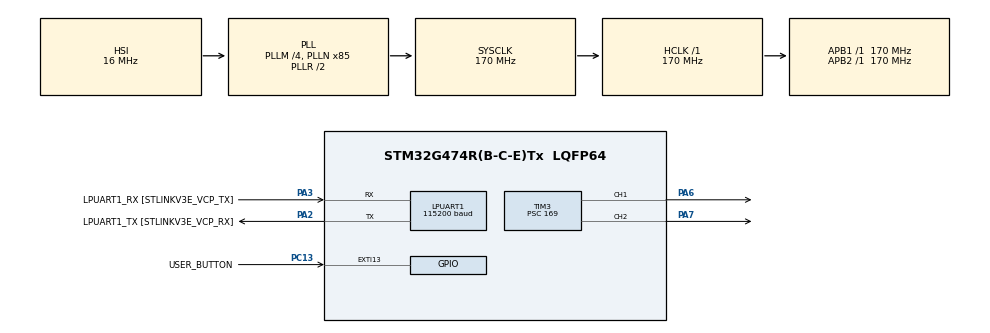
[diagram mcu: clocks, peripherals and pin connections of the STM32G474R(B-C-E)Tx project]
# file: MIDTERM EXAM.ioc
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LPUART1.BaudRate=115200
Mcu.Family=STM32G4
Mcu.Name=STM32G474R(B-C-E)Tx
Mcu.Package=LQFP64
NVIC.EXTI15_10_IRQn=true\:0\:0\:false\:false\:true\:true\:true\:true
NVIC.LPUART1_IRQn=true\:0\:0\:false\:false\:true\:true\:true\:true
NVIC.PriorityGroup=NVIC_PRIORITYGROUP_4
NVIC.TIM6_DAC_IRQn=true\:0\:0\:false\:false\:true\:true\:true\:true
PA13.GPIO_Label=T_SWDIO
PA13.Signal=SYS_JTMS-SWDIO
PA14.GPIO_Label=T_SWCLK
PA14.Signal=SYS_JTCK-SWCLK
PA2.GPIO_Label=LPUART1_TX [STLINKV3E_VCP_RX]
PA2.Mode=Asynchronous
PA2.Signal=LPUART1_TX
PA3.GPIO_Label=LPUART1_RX [STLINKV3E_VCP_TX]
PA3.Mode=Asynchronous
PA3.Signal=LPUART1_RX
PA6.Signal=S_TIM3_CH1
PA7.Signal=S_TIM3_CH2
PB3.GPIO_Label=T_SWO
PB3.Signal=SYS_JTDO-SWO
PC13.GPIO_Label=USER_BUTTON
PC13.GPIO_PuPd=GPIO_PULLDOWN
PC13.Signal=GPXTI13
PC14-OSC32_IN.GPIO_Label=RCC_OSC32_IN
PC14-OSC32_IN.Signal=RCC_OSC32_IN
PC15-OSC32_OUT.GPIO_Label=RCC_OSC32_OUT
PC15-OSC32_OUT.Signal=RCC_OSC32_OUT
PF0-OSC_IN.GPIO_Label=RCC_OSC_IN
PF0-OSC_IN.Signal=RCC_OSC_IN
PF1-OSC_OUT.GPIO_Label=RCC_OSC_OUT
PF1-OSC_OUT.Signal=RCC_OSC_OUT
ProjectManager.HeapSize=0x200
ProjectManager.StackSize=0x400
ProjectManager.TargetToolchain=STM32CubeIDE
RCC.ADC12Freq_Value=170000000
RCC.ADC345Freq_Value=170000000
RCC.AHBFreq_Value=170000000
RCC.APB1Freq_Value=170000000
RCC.APB1TimFreq_Value=170000000
RCC.APB2Freq_Value=170000000
RCC.APB2TimFreq_Value=170000000
RCC.CortexFreq_Value=170000000
RCC.EXTERNAL_CLOCK_VALUE=12288000
RCC.HCLKFreq_Value=170000000
RCC.HSE_VALUE=24000000
RCC.HSI48_VALUE=48000000
RCC.HSI_VALUE=16000000
RCC.LSE_VALUE=32768
RCC.PLLM=RCC_PLLM_DIV4
RCC.PLLN=85
RCC.RTCClockSelection=RCC_RTCCLKSOURCE_LSE
RCC.SYSCLKFreq_VALUE=170000000
RCC.SYSCLKSource=RCC_SYSCLKSOURCE_PLLCLK
RCC.USBFreq_Value=170000000
RCC.VCOOutputFreq_Value=340000000
SH.S_TIM3_CH1.0=TIM3_CH1,PWM Generation1 CH1
SH.S_TIM3_CH2.0=TIM3_CH2,PWM Generation2 CH2
TIM3.Channel-PWM\ Generation1\ CH1=TIM_CHANNEL_1
TIM3.Channel-PWM\ Generation2\ CH2=TIM_CHANNEL_2
TIM3.PeriodNoDither=999
TIM3.Prescaler=169
TIM6.PeriodNoDither=99
TIM6.Prescaler=16999
VP_SYS_VS_DBSignals.Mode=DisableDeadBatterySignals
VP_TIM3_VS_ClockSourceINT.Mode=Internal
VP_TIM6_VS_ClockSourceINT.Mode=Enable_Timer
board=NUCLEO-G474RE

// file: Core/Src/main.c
/* USER CODE BEGIN Header */
/**
  ******************************************************************************
  * @file           : main.c
  * @brief          : Main program body
  ******************************************************************************
  * @attention
  *
  * Copyright (c) 2026 STMicroelectronics.
  * All rights reserved.
  *
  * This software is licensed under terms that can be found in the LICENSE file
  * in the root directory of this software component.
  * If no LICENSE file comes with this software, it is provided AS-IS.
  *
  ******************************************************************************
  */
/* USER CODE END Header */
#include "main.h"

/* USER CODE BEGIN Includes */
#include <stdio.h>   // snprintf()：將數字轉換成文字
#include <string.h>  // strlen()：取得字串長度
/* USER CODE END Includes */

UART_HandleTypeDef hlpuart1;

TIM_HandleTypeDef htim3;
TIM_HandleTypeDef htim6;

/* USER CODE BEGIN PV */

/* =========================================
   1. 時間設定：單位為秒
   ========================================= */

#define STUDY_TIME   20U
#define BREAK_TIME   10U
#define REWARD_TIME  15U

/* =========================================
   2. FSM 狀態定義
   ========================================= */

typedef enum
{
    STATE_WAIT,
    STATE_STUDY,
    STATE_BREAK,
    STATE_PAUSED,
    STATE_DONE
} FSM_State;

/* =========================================
   3. FSM 使用的變數
   ========================================= */

FSM_State state = STATE_WAIT;

FSM_State previousState = STATE_WAIT;

uint16_t totalRounds = 0;

uint16_t currentRound = 0;

uint8_t studyPaused = 0;

uint32_t phaseStart = 0;

uint32_t phaseDuration = 0;

uint32_t remainingTime = 0;

/* =========================================
   4. 中斷旗標
   ========================================= */

// PC13 按鈕中斷旗標
volatile uint8_t buttonFlag = 0;

// TIM6 週期中斷旗標
volatile uint8_t timerFlag = 0;

// 記錄上次有效按鈕時間，防止彈跳
volatile uint32_t lastButtonTime = 0;

// 是否曾經接受過有效按鈕事件
volatile uint8_t buttonInitialized = 0;

uint8_t rxChar = 0;

volatile uint8_t rxStatus = 0;

volatile uint16_t rxRounds = 0;

uint16_t rxNumber = 0;

uint8_t rxDigits = 0;

uint8_t rxInvalid = 0;

char txBuffer[128];

/* USER CODE END PV */

void SystemClock_Config(void);
static void MX_GPIO_Init(void);
static void MX_LPUART1_UART_Init(void);
static void MX_TIM3_Init(void);
static void MX_TIM6_Init(void);

/* USER CODE BEGIN PFP */

void UART_Send(const char *msg);

void PWM_Set(uint32_t channel, uint16_t brightness);

void StartStudy(void);

void StartBreak(void);

void HandleButton(void);

void FSM_Update(void);

void LED_Update(void);

/* USER CODE END PFP */

int main(void)
{

  /* MCU Configuration--------------------------------------------------------*/

  /* Reset of all peripherals, Initializes the Flash interface and the Systick. */
  HAL_Init();

  /* Configure the system clock */
  SystemClock_Config();

  /* Initialize all configured peripherals */
  MX_GPIO_Init();
  MX_LPUART1_UART_Init();
  MX_TIM3_Init();
  MX_TIM6_Init();

  /* USER CODE BEGIN 2 */

  HAL_TIM_PWM_Start(&htim3, TIM_CHANNEL_1);

  HAL_TIM_PWM_Start(&htim3, TIM_CHANNEL_2);

  PWM_Set(TIM_CHANNEL_1, 0);
  PWM_Set(TIM_CHANNEL_2, 0);

  HAL_TIM_Base_Start_IT(&htim6);

  HAL_UART_Receive_IT(&hlpuart1, &rxChar, 1);

  UART_Send("\r\n========================\r\n");
  UART_Send(" STM32 Study Timer\r\n");
  UART_Send("========================\r\n");

  UART_Send("Study : 20 seconds\r\n");
  UART_Send("Break : 10 seconds\r\n");
  UART_Send("Reward: 15 seconds\r\n");

  UART_Send("\r\nEnter rounds (1-99):\r\n");

  /* USER CODE END 2 */

  /* Infinite loop */
  while (1)
  {

    /* USER CODE BEGIN 3 */

	     if (rxStatus != 0)
	     {
	         uint8_t result;
	         uint16_t inputRounds;

	         uint32_t primask = __get_PRIMASK();
	         __disable_irq();

	         result = rxStatus;
	         inputRounds = rxRounds;
	         rxStatus = 0;

	         __set_PRIMASK(primask);

	         if (result == 1)
	         {

	             if (state == STATE_WAIT ||
	                 state == STATE_DONE)
	             {
	                 totalRounds = inputRounds;
	                 currentRound = 0;
	                 studyPaused = 0;

	                 state = STATE_WAIT;

	                 PWM_Set(TIM_CHANNEL_1, 0);
	                 PWM_Set(TIM_CHANNEL_2, 0);

	                 snprintf(txBuffer, sizeof(txBuffer),
	                          "\r\nRounds set: %u\r\n",
	                          (unsigned int)totalRounds);

	                 UART_Send(txBuffer);
	                 UART_Send("Press USER to start.\r\n");
	             }
	             else
	             {

	                 UART_Send("Timer is active. Input ignored.\r\n");
	             }
	         }
	         else
	         {

	             UART_Send("Invalid input! Enter 1-99.\r\n");
	         }
	     }

	     if (buttonFlag == 1)
	     {
	         buttonFlag = 0;

	         HandleButton();
	     }

	     if (timerFlag == 1)
	     {

	         timerFlag = 0;

	         FSM_Update();

	         LED_Update();
	     }
  }
  /* USER CODE END 3 */
}

void SystemClock_Config(void)
{
  RCC_OscInitTypeDef RCC_OscInitStruct = {0};
  RCC_ClkInitTypeDef RCC_ClkInitStruct = {0};

  /** Configure the main internal regulator output voltage
  */
  HAL_PWREx_ControlVoltageScaling(PWR_REGULATOR_VOLTAGE_SCALE1_BOOST);

  /** Initializes the RCC Oscillators according to the specified parameters
  * in the RCC_OscInitTypeDef structure.
  */
  RCC_OscInitStruct.OscillatorType = RCC_OSCILLATORTYPE_HSI;
  RCC_OscInitStruct.HSIState = RCC_HSI_ON;
  RCC_OscInitStruct.HSICalibrationValue = RCC_HSICALIBRATION_DEFAULT;
  RCC_OscInitStruct.PLL.PLLState = RCC_PLL_ON;
  RCC_OscInitStruct.PLL.PLLSource = RCC_PLLSOURCE_HSI;
  RCC_OscInitStruct.PLL.PLLM = RCC_PLLM_DIV4;
  RCC_OscInitStruct.PLL.PLLN = 85;
  RCC_OscInitStruct.PLL.PLLP = RCC_PLLP_DIV2;
  RCC_OscInitStruct.PLL.PLLQ = RCC_PLLQ_DIV2;
  RCC_OscInitStruct.PLL.PLLR = RCC_PLLR_DIV2;
  if (HAL_RCC_OscConfig(&RCC_OscInitStruct) != HAL_OK)
  {
    Error_Handler();
  }

  /** Initializes the CPU, AHB and APB buses clocks
  */
  RCC_ClkInitStruct.ClockType = RCC_CLOCKTYPE_HCLK|RCC_CLOCKTYPE_SYSCLK
                              |RCC_CLOCKTYPE_PCLK1|RCC_CLOCKTYPE_PCLK2;
  RCC_ClkInitStruct.SYSCLKSource = RCC_SYSCLKSOURCE_PLLCLK;
  RCC_ClkInitStruct.AHBCLKDivider = RCC_SYSCLK_DIV1;
  RCC_ClkInitStruct.APB1CLKDivider = RCC_HCLK_DIV1;
  RCC_ClkInitStruct.APB2CLKDivider = RCC_HCLK_DIV1;

  if (HAL_RCC_ClockConfig(&RCC_ClkInitStruct, FLASH_LATENCY_4) != HAL_OK)
  {
    Error_Handler();
  }
}

static void MX_LPUART1_UART_Init(void)
{

  hlpuart1.Instance = LPUART1;
  hlpuart1.Init.BaudRate = 115200;
  hlpuart1.Init.WordLength = UART_WORDLENGTH_8B;
  hlpuart1.Init.StopBits = UART_STOPBITS_1;
  hlpuart1.Init.Parity = UART_PARITY_NONE;
  hlpuart1.Init.Mode = UART_MODE_TX_RX;
  hlpuart1.Init.HwFlowCtl = UART_HWCONTROL_NONE;
  hlpuart1.Init.OneBitSampling = UART_ONE_BIT_SAMPLE_DISABLE;
  hlpuart1.Init.ClockPrescaler = UART_PRESCALER_DIV1;
  hlpuart1.AdvancedInit.AdvFeatureInit = UART_ADVFEATURE_NO_INIT;
  if (HAL_UART_Init(&hlpuart1) != HAL_OK)
  {
    Error_Handler();
  }
  if (HAL_UARTEx_SetTxFifoThreshold(&hlpuart1, UART_TXFIFO_THRESHOLD_1_8) != HAL_OK)
  {
    Error_Handler();
  }
  if (HAL_UARTEx_SetRxFifoThreshold(&hlpuart1, UART_RXFIFO_THRESHOLD_1_8) != HAL_OK)
  {
    Error_Handler();
  }
  if (HAL_UARTEx_DisableFifoMode(&hlpuart1) != HAL_OK)
  {
    Error_Handler();
  }

}

static void MX_TIM3_Init(void)
{

  TIM_ClockConfigTypeDef sClockSourceConfig = {0};
  TIM_MasterConfigTypeDef sMasterConfig = {0};
  TIM_OC_InitTypeDef sConfigOC = {0};

  htim3.Instance = TIM3;
  htim3.Init.Prescaler = 169;
  htim3.Init.CounterMode = TIM_COUNTERMODE_UP;
  htim3.Init.Period = 999;
  htim3.Init.ClockDivision = TIM_CLOCKDIVISION_DIV1;
  htim3.Init.AutoReloadPreload = TIM_AUTORELOAD_PRELOAD_DISABLE;
  if (HAL_TIM_Base_Init(&htim3) != HAL_OK)
  {
    Error_Handler();
  }
  sClockSourceConfig.ClockSource = TIM_CLOCKSOURCE_INTERNAL;
  if (HAL_TIM_ConfigClockSource(&htim3, &sClockSourceConfig) != HAL_OK)
  {
    Error_Handler();
  }
  if (HAL_TIM_PWM_Init(&htim3) != HAL_OK)
  {
    Error_Handler();
  }
  sMasterConfig.MasterOutputTrigger = TIM_TRGO_RESET;
  sMasterConfig.MasterSlaveMode = TIM_MASTERSLAVEMODE_DISABLE;
  if (HAL_TIMEx_MasterConfigSynchronization(&htim3, &sMasterConfig) != HAL_OK)
  {
    Error_Handler();
  }
  sConfigOC.OCMode = TIM_OCMODE_PWM1;
  sConfigOC.Pulse = 0;
  sConfigOC.OCPolarity = TIM_OCPOLARITY_HIGH;
  sConfigOC.OCFastMode = TIM_OCFAST_DISABLE;
  if (HAL_TIM_PWM_ConfigChannel(&htim3, &sConfigOC, TIM_CHANNEL_1) != HAL_OK)
  {
    Error_Handler();
  }
  if (HAL_TIM_PWM_ConfigChannel(&htim3, &sConfigOC, TIM_CHANNEL_2) != HAL_OK)
  {
    Error_Handler();
  }
  HAL_TIM_MspPostInit(&htim3);

}

static void MX_TIM6_Init(void)
{

  TIM_MasterConfigTypeDef sMasterConfig = {0};

  htim6.Instance = TIM6;
  htim6.Init.Prescaler = 16999;
  htim6.Init.CounterMode = TIM_COUNTERMODE_UP;
  htim6.Init.Period = 99;
  htim6.Init.AutoReloadPreload = TIM_AUTORELOAD_PRELOAD_DISABLE;
  if (HAL_TIM_Base_Init(&htim6) != HAL_OK)
  {
    Error_Handler();
  }
  sMasterConfig.MasterOutputTrigger = TIM_TRGO_RESET;
  sMasterConfig.MasterSlaveMode = TIM_MASTERSLAVEMODE_DISABLE;
  if (HAL_TIMEx_MasterConfigSynchronization(&htim6, &sMasterConfig) != HAL_OK)
  {
    Error_Handler();
  }

}

static void MX_GPIO_Init(void)
{
  GPIO_InitTypeDef GPIO_InitStruct = {0};

  /* GPIO Ports Clock Enable */
  __HAL_RCC_GPIOC_CLK_ENABLE();
  __HAL_RCC_GPIOF_CLK_ENABLE();
  __HAL_RCC_GPIOA_CLK_ENABLE();
  __HAL_RCC_GPIOB_CLK_ENABLE();

  /*Configure GPIO pin : USER_BUTTON_Pin */
  GPIO_InitStruct.Pin = USER_BUTTON_Pin;
  GPIO_InitStruct.Mode = GPIO_MODE_IT_RISING;
  GPIO_InitStruct.Pull = GPIO_PULLDOWN;
  HAL_GPIO_Init(USER_BUTTON_GPIO_Port, &GPIO_InitStruct);

  /* EXTI interrupt init*/
  HAL_NVIC_SetPriority(EXTI15_10_IRQn, 0, 0);
  HAL_NVIC_EnableIRQ(EXTI15_10_IRQn);

}

/* USER CODE BEGIN 4 */

/* =========================================
   函式 1：UART 傳送文字
   ========================================= */

void UART_Send(const char *msg)
{

    HAL_UART_Transmit(
        &hlpuart1,
        (uint8_t *)msg,
        (uint16_t)strlen(msg),
        1000
    );
}

void PWM_Set(uint32_t channel, uint16_t brightness)
{

    if (brightness > 1000U)
    {
        brightness = 1000U;
    }

    uint32_t period =
        __HAL_TIM_GET_AUTORELOAD(&htim3) + 1U;

    uint32_t compare =
        (period * brightness) / 1000U;

    __HAL_TIM_SET_COMPARE(&htim3, channel, compare);
}

/* =========================================
   函式 3：開始新的一輪讀書
   ========================================= */

void StartStudy(void)
{
    // FSM 切換至讀書狀態
    state = STATE_STUDY;

    // 讀書時間為 20 秒
    // HAL_GetTick() 使用毫秒
    // 所以需要乘上 1000
    phaseDuration = STUDY_TIME * 1000U;

    // 記錄現在的開始時間
    phaseStart = HAL_GetTick();

    // 新的一輪尚未暫停
    // 因此有機會得到獎勵
    studyPaused = 0;

    // 讀書期間藍燈恆亮
    PWM_Set(TIM_CHANNEL_1, 1000);

    // 黃燈關閉
    PWM_Set(TIM_CHANNEL_2, 0);

    // 顯示目前讀書輪數
    snprintf(txBuffer, sizeof(txBuffer),
             "\r\nStudy Round %u/%u\r\n",
             (unsigned int)(currentRound + 1),
             (unsigned int)totalRounds);

    UART_Send(txBuffer);
    UART_Send("Study started: 20 sec\r\n");
}

/* =========================================
   函式 4：開始休息並判斷獎勵
   ========================================= */

void StartBreak(void)
{
    // FSM 切換至休息狀態
    state = STATE_BREAK;

    // 記錄休息開始時間
    phaseStart = HAL_GetTick();

    // 判斷剛剛的讀書是否曾經暫停
    if (studyPaused == 0)
    {
        // 沒有暫停，可以獲得獎勵
        // 獎勵休息 15 秒
        phaseDuration = REWARD_TIME * 1000U;

        UART_Send("\r\nReward unlocked!\r\n");
        UART_Send("Break: 15 sec\r\n");
    }
    else
    {
        // 讀書期間曾經暫停
        // 只能正常休息 10 秒
        phaseDuration = BREAK_TIME * 1000U;

        UART_Send("\r\nNormal break\r\n");
        UART_Send("Break: 10 sec\r\n");
    }

    // 關閉黃色 LED
    PWM_Set(TIM_CHANNEL_2, 0);

    // 藍色呼吸燈由 LED_Update() 控制
}

/* =========================================
   函式 5：處理 USER 按鈕
   ========================================= */

void HandleButton(void)
{
    // 取得目前的毫秒時間
    uint32_t now = HAL_GetTick();

    /* ===== 情況 1：等待開始 ===== */
    if (state == STATE_WAIT)
    {
        // 確認使用者已設定輪數
        if (totalRounds == 0)
        {
            UART_Send("Please enter rounds first.\r\n");
            return;
        }

        // 開始第一輪讀書
        StartStudy();
    }

    /* ===== 情況 2：正在讀書或休息 ===== */
    else if (state == STATE_STUDY ||
             state == STATE_BREAK)
    {
        // 記住目前狀態
        // 方便恢復時回到原狀態
        previousState = state;

        // 計算本階段已經經過的時間
        uint32_t elapsed = now - phaseStart;

        // 計算暫停時的剩餘時間
        if (elapsed >= phaseDuration)
        {
            remainingTime = 0;
        }
        else
        {
            remainingTime = phaseDuration - elapsed;
        }

        // 如果在讀書狀態暫停
        if (state == STATE_STUDY)
        {
            // 記錄曾經暫停，失去本輪獎勵
            studyPaused = 1;
        }

        // 進入暫停狀態
        state = STATE_PAUSED;

        // 暫停時關閉兩顆 LED
        PWM_Set(TIM_CHANNEL_1, 0);
        PWM_Set(TIM_CHANNEL_2, 0);

        // 顯示剩餘秒數
        snprintf(txBuffer, sizeof(txBuffer),
                 "Paused. Remaining: %lu sec\r\n",
                 (unsigned long)
                 ((remainingTime + 999U) / 1000U));

        UART_Send(txBuffer);
    }

    /* ===== 情況 3：恢復計時 ===== */
    else if (state == STATE_PAUSED)
    {
        // 回到暫停前的狀態
        state = previousState;

        // 從現在開始計算剩餘的時間
        phaseStart = now;

        // 只需執行尚未完成的時間
        phaseDuration = remainingTime;

        UART_Send("Timer resumed!\r\n");

        // 立即恢復燈光
        LED_Update();
    }

    /* ===== 情況 4：所有輪數已完成 ===== */
    else if (state == STATE_DONE)
    {
        UART_Send("Enter new rounds to restart.\r\n");
    }
}

/* =========================================
   函式 6：FSM 狀態更新
   ========================================= */

void FSM_Update(void)
{
    // 取得現在時間，單位為毫秒
    uint32_t now = HAL_GetTick();

    /* ===== 讀書狀態 ===== */
    if (state == STATE_STUDY)
    {
        // 判斷讀書時間是否到達
        if ((now - phaseStart) >= phaseDuration)
        {
            // 一輪讀書完成
            currentRound++;

            UART_Send("Study completed!\r\n");

            // 判斷是否完成全部輪數
            if (currentRound >= totalRounds)
            {
                // 所有輪數完成
                state = STATE_DONE;

                // 關閉藍色 LED
                PWM_Set(TIM_CHANNEL_1, 0);

                // 顯示完成訊息
                UART_Send("\r\n====================\r\n");
                UART_Send("ALL ROUNDS COMPLETED!\r\n");
                UART_Send("Well done!\r\n");
                UART_Send("====================\r\n");

                UART_Send("Enter new rounds to restart.\r\n");
            }
            else
            {
                // 尚未完成全部輪數
                // 進入休息，並判斷是否獲得獎勵
                StartBreak();
            }
        }
    }

    /* ===== 休息狀態 ===== */
    else if (state == STATE_BREAK)
    {
        // 判斷休息時間是否結束
        if ((now - phaseStart) >= phaseDuration)
        {
            UART_Send("Break finished!\r\n");

            // 自動開始下一輪讀書
            StartStudy();
        }
    }

    /* ===== 暫停狀態 ===== */
    else if (state == STATE_PAUSED)
    {
        // 暫停時不更新倒數
        // 等待使用者按下 USER 恢復
    }

    /* ===== 等待或完成狀態 ===== */
    else
    {
        // 不進行讀書或休息計時
    }
}

/* =========================================
   函式 7：根據 FSM 狀態控制 LED
   ========================================= */

void LED_Update(void)
{
    uint32_t now = HAL_GetTick();

    /* ===== STUDY：藍燈恆亮 ===== */
    if (state == STATE_STUDY)
    {
        // 藍色 LED 100% 亮度
        PWM_Set(TIM_CHANNEL_1, 1000);

        // 黃色 LED 關閉
        PWM_Set(TIM_CHANNEL_2, 0);
    }

    /* ===== BREAK：藍色呼吸燈 ===== */
    else if (state == STATE_BREAK)
    {
        // 呼吸週期為 2000 ms
        // 前 1 秒變亮、後 1 秒變暗
        uint32_t t = (now - phaseStart) % 2000U;

        // 計算 PWM 亮度
        uint16_t brightness;

        if (t < 1000U)
        {
            // 第一階段：漸亮
            brightness =
                50U + (950U * t) / 1000U;
        }
        else
        {
            // 第二階段：漸暗
            brightness =
                50U + (950U * (2000U - t)) / 1000U;
        }

        // 使用 TIM3 CH1 改變藍燈亮度
        PWM_Set(TIM_CHANNEL_1, brightness);

        // 黃燈關閉
        PWM_Set(TIM_CHANNEL_2, 0);
    }

    /* ===== DONE：黃色 LED 閃爍 ===== */
    else if (state == STATE_DONE)
    {
        // 藍燈關閉
        PWM_Set(TIM_CHANNEL_1, 0);

        // 每 250 ms 切換一次黃燈亮滅
        if ((now / 250U) % 2U == 0U)
        {
            PWM_Set(TIM_CHANNEL_2, 1000);
        }
        else
        {
            PWM_Set(TIM_CHANNEL_2, 0);
        }
    }

    /* ===== WAIT / PAUSED ===== */
    else
    {
        // 等待或暫停時兩顆 LED 都關閉
        PWM_Set(TIM_CHANNEL_1, 0);
        PWM_Set(TIM_CHANNEL_2, 0);
    }
}

/* =========================================
   中斷 1：PC13 USER 按鈕
   ========================================= */

void HAL_GPIO_EXTI_Callback(uint16_t GPIO_Pin)
{
    // 確認中斷來源是 PC13
    if (GPIO_Pin == GPIO_PIN_13)
    {
        // 取得按下按鈕時的時間
        uint32_t now = HAL_GetTick();

        // 第一次按下直接接受
        // 之後兩次有效按下需至少間隔 180 ms
        if (buttonInitialized == 0 ||
            (now - lastButtonTime) >= 180U)
        {
            // 記錄本次按鈕時間
            lastButtonTime = now;

            // 標記已經接收過按鈕事件
            buttonInitialized = 1;

            // 通知主程式處理按鈕
            buttonFlag = 1;
        }
    }
}

/* =========================================
   中斷 2：TIM6 計時器
   ========================================= */

void HAL_TIM_PeriodElapsedCallback(TIM_HandleTypeDef *htim)
{
    // 判斷是不是 TIM6 產生的中斷
    if (htim->Instance == TIM6)
    {
        // 通知主程式更新狀態機與 LED
        timerFlag = 1;
    }
}

/* =========================================
   中斷 3：LPUART1 接收字元
   功能：接收 1~99 的讀書輪數
   ========================================= */

void HAL_UART_RxCpltCallback(UART_HandleTypeDef *huart)
{
    // 確認是 LPUART1 收到字元
    if (huart->Instance == LPUART1)
    {
        /* ===== 收到 Enter ===== */
        if (rxChar == '\r' || rxChar == '\n')
        {
            // 有輸入內容才處理
            if (rxDigits > 0 || rxInvalid)
            {
                // 避免覆蓋主程式尚未處理的結果
                if (rxStatus == 0)
                {
                    // 檢查輸入是否為 1~99
                    if (rxInvalid == 0 &&
                        rxNumber >= 1 &&
                        rxNumber <= 99)
                    {
                        // 有效輸入
                        rxRounds = rxNumber;
                        rxStatus = 1;
                    }
                    else
                    {
                        // 無效輸入
                        rxStatus = 2;
                    }
                }
            }

            // 清除暫存資料
            rxNumber = 0;
            rxDigits = 0;
            rxInvalid = 0;
        }

        /* ===== 收到數字或其他字元 ===== */
        else
        {
            // 判斷字元是否為 0~9
            if (rxChar >= '0' && rxChar <= '9')
            {
                // 只允許輸入最多兩位數
                if (rxDigits < 2 && rxInvalid == 0)
                {
                    // 將字元轉換為數值
                    rxNumber =
                        rxNumber * 10U + (rxChar - '0');

                    // 數字位數加 1
                    rxDigits++;
                }
                else
                {
                    // 超過兩位數
                    rxInvalid = 1;
                }
            }
            else
            {
                // 收到非數字字元
                rxInvalid = 1;
            }
        }

        // 再次啟動 UART 接收中斷
        // 等待下一個字元
        HAL_UART_Receive_IT(&hlpuart1, &rxChar, 1);
    }
}

/* USER CODE END 4 */

void Error_Handler(void)
{
  __disable_irq();
  while (1)
  {
  }
}
